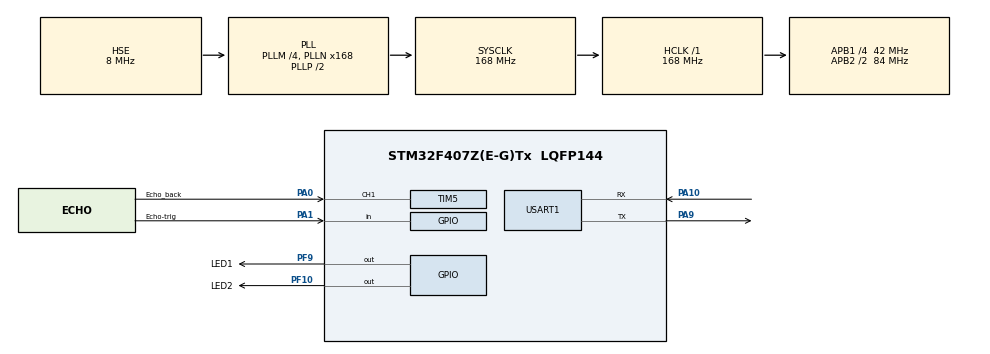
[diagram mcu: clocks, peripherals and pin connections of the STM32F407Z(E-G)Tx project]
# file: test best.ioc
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Mcu.Family=STM32F4
Mcu.Name=STM32F407Z(E-G)Tx
Mcu.Package=LQFP144
NVIC.PriorityGroup=NVIC_PRIORITYGROUP_4
NVIC.TIM5_IRQn=true\:0\:0\:false\:false\:true\:true
NVIC.USART1_IRQn=true\:1\:0\:true\:false\:true\:true
PA0-WKUP.GPIO_Label=Echo_back
PA0-WKUP.Signal=S_TIM5_CH1
PA1.GPIO_Label=Echo-trig
PA1.Signal=GPIO_Input
PA10.Mode=Asynchronous
PA10.Signal=USART1_RX
PA9.Mode=Asynchronous
PA9.Signal=USART1_TX
PF10.GPIO_Label=LED2
PF10.Signal=GPIO_Output
PF9.GPIO_Label=LED1
PF9.GPIO_Speed=GPIO_SPEED_FREQ_LOW
PF9.PinState=GPIO_PIN_RESET
PF9.Signal=GPIO_Output
PH0-OSC_IN.Mode=HSE-External-Oscillator
PH0-OSC_IN.Signal=RCC_OSC_IN
PH1-OSC_OUT.Mode=HSE-External-Oscillator
PH1-OSC_OUT.Signal=RCC_OSC_OUT
ProjectManager.HeapSize=0x200
ProjectManager.StackSize=0x400
ProjectManager.TargetToolchain=MDK-ARM V5
RCC.48MHZClocksFreq_Value=84000000
RCC.AHBFreq_Value=168000000
RCC.APB1CLKDivider=RCC_HCLK_DIV4
RCC.APB1Freq_Value=42000000
RCC.APB1TimFreq_Value=84000000
RCC.APB2CLKDivider=RCC_HCLK_DIV2
RCC.APB2Freq_Value=84000000
RCC.APB2TimFreq_Value=168000000
RCC.CortexFreq_Value=168000000
RCC.HCLKFreq_Value=168000000
RCC.HSE_VALUE=8000000
RCC.HSI_VALUE=16000000
RCC.LSE_VALUE=32768
RCC.PLLM=4
RCC.PLLN=168
RCC.PLLSourceVirtual=RCC_PLLSOURCE_HSE
RCC.SYSCLKFreq_VALUE=168000000
RCC.SYSCLKSource=RCC_SYSCLKSOURCE_PLLCLK
RCC.VCOOutputFreq_Value=336000000
SH.S_TIM5_CH1.0=TIM5_CH1,Input_Capture1_from_TI1
TIM5.Channel-Input_Capture1_from_TI1=TIM_CHANNEL_1
TIM5.Period=0xFFFF
TIM5.Prescaler=167
USART1.VirtualMode=VM_ASYNC
VP_TIM5_VS_ClockSourceINT.Mode=Internal
board=custom

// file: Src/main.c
/**
  ******************************************************************************
  * @file           : main.c
  * @brief          : Main program body
  ******************************************************************************
  ** This notice applies to any and all portions of this file
  * that are not between comment pairs USER CODE BEGIN and
  * USER CODE END. Other portions of this file, whether
  * inserted by the user or by software development tools
  * are owned by their respective copyright owners.
  *
  * COPYRIGHT(c) 2019 STMicroelectronics
  *
  * Redistribution and use in source and binary forms, with or without modification,
  * are permitted provided that the following conditions are met:
  *   1. Redistributions of source code must retain the above copyright notice,
  *      this list of conditions and the following disclaimer.
  *   2. Redistributions in binary form must reproduce the above copyright notice,
  *      this list of conditions and the following disclaimer in the documentation
  *      and/or other materials provided with the distribution.
  *   3. Neither the name of STMicroelectronics nor the names of its contributors
  *      may be used to endorse or promote products derived from this software
  *      without specific prior written permission.
  *
  * THIS SOFTWARE IS PROVIDED BY THE COPYRIGHT HOLDERS AND CONTRIBUTORS "AS IS"
  * AND ANY EXPRESS OR IMPLIED WARRANTIES, INCLUDING, BUT NOT LIMITED TO, THE
  * IMPLIED WARRANTIES OF MERCHANTABILITY AND FITNESS FOR A PARTICULAR PURPOSE ARE
  * DISCLAIMED. IN NO EVENT SHALL THE COPYRIGHT HOLDER OR CONTRIBUTORS BE LIABLE
  * FOR ANY DIRECT, INDIRECT, INCIDENTAL, SPECIAL, EXEMPLARY, OR CONSEQUENTIAL
  * DAMAGES (INCLUDING, BUT NOT LIMITED TO, PROCUREMENT OF SUBSTITUTE GOODS OR
  * SERVICES; LOSS OF USE, DATA, OR PROFITS; OR BUSINESS INTERRUPTION) HOWEVER
  * CAUSED AND ON ANY THEORY OF LIABILITY, WHETHER IN CONTRACT, STRICT LIABILITY,
  * OR TORT (INCLUDING NEGLIGENCE OR OTHERWISE) ARISING IN ANY WAY OUT OF THE USE
  * OF THIS SOFTWARE, EVEN IF ADVISED OF THE POSSIBILITY OF SUCH DAMAGE.
  *
  ******************************************************************************
  */
#include "main.h"
#include "stm32f4xx_hal.h"
#include "tim.h"
#include "usart.h"
#include "gpio.h"

/* USER CODE BEGIN PV */
/* Private variables ---------------------------------------------------------*/

uint8_t aRxBuffer;

/************************** 输入捕获外部变量 ********************************/
typedef struct              //测量高电平脉宽
{
	uint8_t   ucFinishFlag;
	uint8_t   ucStartFlag;
	uint16_t  usCtr;
	uint16_t  usPeriod;
}STRUCT_CAPTURE;
STRUCT_CAPTURE strCapture = { 0, 0, 0 };
/* USER CODE END PV */

void SystemClock_Config(void);

/* USER CODE BEGIN PFP */
/* Private function prototypes -----------------------------------------------*/
void HcSr04_Delay(__IO uint32_t i);
/* USER CODE END PFP */

int main(void)
{
  /* USER CODE BEGIN 1 */
//	uint8_t txbuf[100];
	uint32_t temp;
  uint32_t ulTmrClk, ulTime;
  /* USER CODE END 1 */

  /* MCU Configuration----------------------------------------------------------*/

  /* Reset of all peripherals, Initializes the Flash interface and the Systick. */
  HAL_Init();

  /* Configure the system clock */
  SystemClock_Config();

  /* Initialize all configured peripherals */
  MX_GPIO_Init();
  MX_USART1_UART_Init();
  MX_TIM5_Init();
  /* USER CODE BEGIN 2 */

	LED1_ON;
	LED2_ON;
	printf ( "STM32 超声波捕获实验\n" );
	  /* 获取定时器时钟周期 */
	ulTmrClk = HAL_RCC_GetHCLKFreq()/(168-1);
  /* 启动定时器 */
  HAL_TIM_Base_Start_IT(&htimx);
  /* 启动定时器通道输入捕获并开启中断 */
  HAL_TIM_IC_Start_IT(&htimx,TIM_CHANNEL_x);
    /* 使能接收，进入中断回调函数 */
  HAL_UART_Receive_IT(&huart1,&aRxBuffer,1);
  /* USER CODE END 2 */

  /* Infinite loop */
  while (1)
  {

  /* USER CODE BEGIN 3 */
		Echo_OFF;
		HcSr04_Delay(500);
		Echo_ON;
		if(strCapture.ucFinishFlag == 1 )
			{
				ulTime = strCapture .usPeriod * GENERAL_TIM_PERIOD + strCapture .usCtr;				/* 计算高电平计数值 */
				temp=((ulTime % ulTmrClk)*340)/(1000*2);
				printf ( "%dmm\n",temp);
				strCapture .ucFinishFlag = 0;
			LED2_OFF;
			HAL_Delay(10);
			LED2_ON;
			}

//		LED1_TOGGLE;
//		HAL_Delay(100);
  }
  /* USER CODE END 3 */

}

void SystemClock_Config(void)
{

  RCC_OscInitTypeDef RCC_OscInitStruct;
  RCC_ClkInitTypeDef RCC_ClkInitStruct;

    /**Configure the main internal regulator output voltage
    */
  __HAL_RCC_PWR_CLK_ENABLE();

  __HAL_PWR_VOLTAGESCALING_CONFIG(PWR_REGULATOR_VOLTAGE_SCALE1);

    /**Initializes the CPU, AHB and APB busses clocks
    */
  RCC_OscInitStruct.OscillatorType = RCC_OSCILLATORTYPE_HSE;
  RCC_OscInitStruct.HSEState = RCC_HSE_ON;
  RCC_OscInitStruct.PLL.PLLState = RCC_PLL_ON;
  RCC_OscInitStruct.PLL.PLLSource = RCC_PLLSOURCE_HSE;
  RCC_OscInitStruct.PLL.PLLM = 4;
  RCC_OscInitStruct.PLL.PLLN = 168;
  RCC_OscInitStruct.PLL.PLLP = RCC_PLLP_DIV2;
  RCC_OscInitStruct.PLL.PLLQ = 4;
  if (HAL_RCC_OscConfig(&RCC_OscInitStruct) != HAL_OK)
  {
    _Error_Handler(__FILE__, __LINE__);
  }

    /**Initializes the CPU, AHB and APB busses clocks
    */
  RCC_ClkInitStruct.ClockType = RCC_CLOCKTYPE_HCLK|RCC_CLOCKTYPE_SYSCLK
                              |RCC_CLOCKTYPE_PCLK1|RCC_CLOCKTYPE_PCLK2;
  RCC_ClkInitStruct.SYSCLKSource = RCC_SYSCLKSOURCE_PLLCLK;
  RCC_ClkInitStruct.AHBCLKDivider = RCC_SYSCLK_DIV1;
  RCC_ClkInitStruct.APB1CLKDivider = RCC_HCLK_DIV4;
  RCC_ClkInitStruct.APB2CLKDivider = RCC_HCLK_DIV2;

  if (HAL_RCC_ClockConfig(&RCC_ClkInitStruct, FLASH_LATENCY_5) != HAL_OK)
  {
    _Error_Handler(__FILE__, __LINE__);
  }

    /**Configure the Systick interrupt time
    */
  HAL_SYSTICK_Config(HAL_RCC_GetHCLKFreq()/1000);

    /**Configure the Systick
    */
  HAL_SYSTICK_CLKSourceConfig(SYSTICK_CLKSOURCE_HCLK);

  /* SysTick_IRQn interrupt configuration */
  HAL_NVIC_SetPriority(SysTick_IRQn, 0, 0);
}

/* USER CODE BEGIN 4 */

/**
  * @brief  超声波延时函数
  * @param  i 延时时间
  * @retval 无
  */
void HcSr04_Delay(__IO uint32_t i){

	while(i--);
}

/**
  * 函数功能:  中断回调函数
  * 输入参数: htim  中断句柄
  * 返 回 值: 无
  * 说    明: 无
  */
//void HAL_UART_RxCpltCallback(UART_HandleTypeDef *UartHandle)
//{
//  HAL_UART_Transmit(&huart1,&aRxBuffer,1,0);
//  HAL_UART_Receive_IT(&huart1,&aRxBuffer,1);
//}

/**
  * 函数功能: 非阻塞模式下定时器的回调函数
  * 输入参数: htim：定时器句柄
  * 返 回 值: 无
  * 说    明: 无
  */
void HAL_TIM_PeriodElapsedCallback(TIM_HandleTypeDef *htim)
{
  strCapture .usPeriod ++;
}

/**
  * 函数功能: 定时器输入捕获中断回调函数
  * 输入参数: htim：定时器句柄
  * 返 回 值: 无
  * 说    明: 无
  */
void HAL_TIM_IC_CaptureCallback(TIM_HandleTypeDef *htim)
{
  TIM_IC_InitTypeDef sConfigIC;

  if ( strCapture .ucStartFlag == 0 )
  {
			LED1_TOGGLE;
//			HAL_Delay(10);   		//闪烁

    htimx.Instance->CNT=0; // 清零定时器计数
    strCapture .usPeriod = 0;
    strCapture .usCtr = 0;

    // 配置输入捕获参数，主要是修改触发电平
    sConfigIC.ICPolarity = GENERAL_TIM_END_ICPolarity;
    sConfigIC.ICSelection = TIM_ICSELECTION_DIRECTTI;
    sConfigIC.ICPrescaler = TIM_ICPSC_DIV1;
    sConfigIC.ICFilter = 0;
    HAL_TIM_IC_ConfigChannel(&htimx, &sConfigIC, TIM_CHANNEL_1);
    // 清除中断标志位
    __HAL_TIM_CLEAR_IT(htim, TIM_IT_CC1);
    // 启动输入捕获并开启中断
    HAL_TIM_IC_Start_IT(&htimx,TIM_CHANNEL_1);
    strCapture .ucStartFlag = 1;
  }

  else
  {
//    LED1_TOGGLE;

    // 获取定时器计数值
    strCapture .usCtr = HAL_TIM_ReadCapturedValue(&htimx,TIM_CHANNEL_1);
    // 配置输入捕获参数，主要是修改触发电平
    sConfigIC.ICPolarity = GENERAL_TIM_STRAT_ICPolarity;
    sConfigIC.ICSelection = TIM_ICSELECTION_DIRECTTI;
    sConfigIC.ICPrescaler = TIM_ICPSC_DIV1;
    sConfigIC.ICFilter = 0;
    HAL_TIM_IC_ConfigChannel(&htimx, &sConfigIC, TIM_CHANNEL_1);

    // 清除中断标志位
    __HAL_TIM_CLEAR_IT(htim, TIM_IT_CC1);
    // 启动输入捕获并开启中断
    HAL_TIM_IC_Start_IT(&htimx,TIM_CHANNEL_1);
    strCapture .ucStartFlag = 0;
    strCapture .ucFinishFlag = 1;
  }
 // HAL_Delay(1000);
}

/* USER CODE END 4 */

void _Error_Handler(char *file, int line)
{
  while(1)
  {
  }
}

/************************ (C) COPYRIGHT STMicroelectronics *****END OF FILE****/
